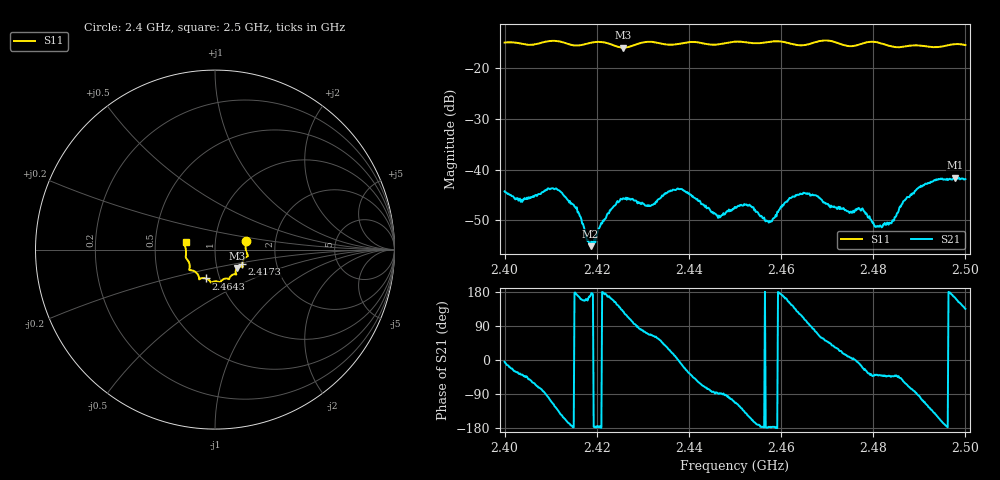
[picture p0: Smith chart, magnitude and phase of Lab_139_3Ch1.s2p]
# Hz S RI R 50
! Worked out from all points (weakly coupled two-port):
!   601 points, 2.4 GHz to 2.5 GHz, reference 50 ohm
!   highest |S21| = -41.56 dB at 2.4978 GHz (marker M1); lowest = -55.1 dB at 2.4187 GHz (marker M2)
!   lowest |S11| = -15.9 dB at 2.4257 GHz (marker M3), VSWR 1.38, Z = 62.5 - j13.1 ohm
!   |S11| at or under -10 dB: start of sweep to end of sweep
!   S12 and S22 are empty: the file has one direction only
!   S11 on the Smith chart (normalised r, x): 2.4 GHz: 1.41, +0.14; 2.4173 GHz: 1.34, -0.22; 2.4643 GHz: 0.86, -0.29; 2.5 GHz: 0.72, +0.06
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2.4e9  0.1726 0.0489  0.0061 -0.0005  0 0  0 0
2.4035e9  0.1731 0.0302  0.0038 -0.00298  0 0  0 0
2.4115e9  0.182 -0.0366  -0.00418 -0.00476  0 0  0 0
2.416667e9  0.1526 -0.0739  -0.00304 0.0011  0 0  0 0
2.417333e9  0.1518 -0.0813  -0.00238 0.00104  0 0  0 0
2.418667e9  0.1527 -0.0928  -0.00174 0.000293  0 0  0 0
2.425667e9  0.1231 -0.1021  -0.00326 0.00408  0 0  0 0
2.431167e9  0.1189 -0.1388  0.00159 0.00409  0 0  0 0
2.433333e9  0.1129 -0.1372  0.00281 0.00426  0 0  0 0
2.438e9  0.0825 -0.154  0.00642 -0.000574  0 0  0 0
2.446333e9  0.0454 -0.166  5.29e-05 -0.00335  0 0  0 0
2.45e9  0.0288 -0.1808  -0.00169 -0.00396  0 0  0 0
2.4535e9  0.0139 -0.1773  -0.00395 -0.00186  0 0  0 0
2.4575e9  -0.0165 -0.1815  -0.00311 -0.000159  0 0  0 0
2.464333e9  -0.0498 -0.161  -0.00271 0.00505  0 0  0 0
2.466667e9  -0.0757 -0.1594  0.000314 0.00558  0 0  0 0
2.477333e9  -0.1295 -0.1157  0.00383 -0.000984  0 0  0 0
2.480667e9  -0.1434 -0.1106  0.00215 -0.00175  0 0  0 0
2.483333e9  -0.1409 -0.09  0.00215 -0.00191  0 0  0 0
2.489833e9  -0.163 -0.0414  -0.000468 -0.00663  0 0  0 0
2.497833e9  -0.1704 0.0315  -0.008 0.0024  0 0  0 0
2.5e9  -0.164 0.0432  -0.00572 0.00571  0 0  0 0
